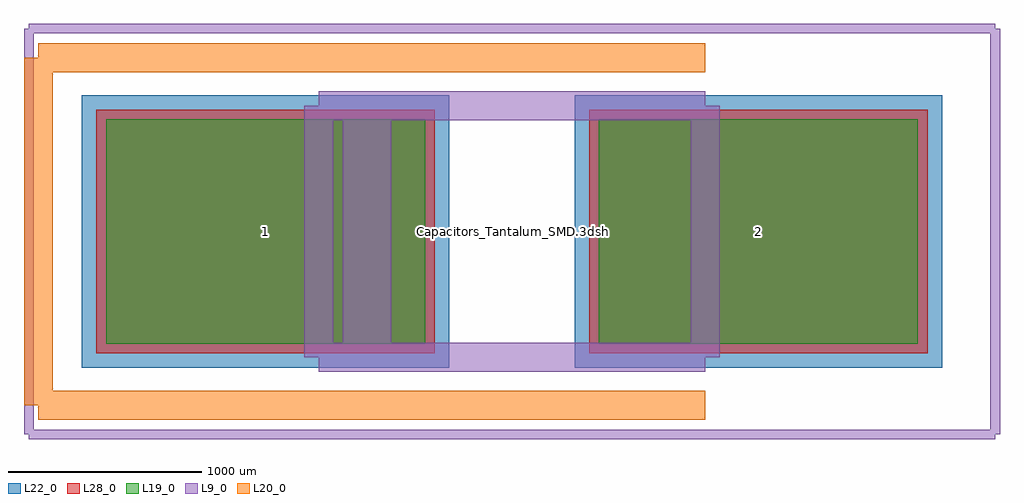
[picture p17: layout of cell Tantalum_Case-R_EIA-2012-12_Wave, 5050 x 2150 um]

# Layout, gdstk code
import gdstk
lib = gdstk.Library(unit=1e-6, precision=1e-09)
def R(c, l, rs):  # rectangles x0, y0, x1, y1
    for r in rs: c.add(gdstk.rectangle(r[:2], r[2:], *l))
L9_0 = (9, 0)
L19_0 = (19, 0)
L20_0 = (20, 0)
L22_0 = (22, 0)
L28_0 = (28, 0)

tantalum_case_r_eia_2012 = lib.new_cell('Tantalum_Case-R_EIA-2012-12_Wave')
R(tantalum_case_r_eia_2012, L19_0, [(-2100,-580,-450,580), (450,-580,2100,580)])
R(tantalum_case_r_eia_2012, L22_0, [(-2225,-705,-325,705), (325,-705,2225,705)])
R(tantalum_case_r_eia_2012, L28_0, [(-2150,-630,-400,630), (400,-630,2150,630)])
tantalum_case_r_eia_2012.add(gdstk.FlexPath([(-2450,900),(-2450,-900)], 149.998, ends="flush", simple_path=True, layer=20, datatype=0))  # L20_0
tantalum_case_r_eia_2012.add(gdstk.FlexPath([(-2450,-900),(1000,-900)], 149.998, ends="flush", simple_path=True, layer=20, datatype=0))  # L20_0
tantalum_case_r_eia_2012.add(gdstk.FlexPath([(-2450,900),(1000,900)], 149.998, ends="flush", simple_path=True, layer=20, datatype=0))  # L20_0
tantalum_case_r_eia_2012.add(gdstk.FlexPath([(-700,650),(-700,-650)], 149.998, ends="flush", simple_path=True, layer=9, datatype=0))  # L9_0
tantalum_case_r_eia_2012.add(gdstk.FlexPath([(-800,650),(-800,-650)], 149.998, ends="flush", simple_path=True, layer=9, datatype=0))  # L9_0
tantalum_case_r_eia_2012.add(gdstk.FlexPath([(1000,650),(-1000,650)], 149.998, ends="flush", simple_path=True, layer=9, datatype=0))  # L9_0
tantalum_case_r_eia_2012.add(gdstk.FlexPath([(1000,-650),(1000,650)], 149.998, ends="flush", simple_path=True, layer=9, datatype=0))  # L9_0
tantalum_case_r_eia_2012.add(gdstk.FlexPath([(-1000,-650),(1000,-650)], 149.998, ends="flush", simple_path=True, layer=9, datatype=0))  # L9_0
tantalum_case_r_eia_2012.add(gdstk.FlexPath([(-1000,650),(-1000,-650)], 149.998, ends="flush", simple_path=True, layer=9, datatype=0))  # L9_0
tantalum_case_r_eia_2012.add(gdstk.FlexPath([(2500,1050),(-2500,1050)], 50, ends="flush", simple_path=True, layer=9, datatype=0))  # L9_0
tantalum_case_r_eia_2012.add(gdstk.FlexPath([(2500,-1050),(2500,1050)], 50, ends="flush", simple_path=True, layer=9, datatype=0))  # L9_0
tantalum_case_r_eia_2012.add(gdstk.FlexPath([(-2500,-1050),(2500,-1050)], 50, ends="flush", simple_path=True, layer=9, datatype=0))  # L9_0
tantalum_case_r_eia_2012.add(gdstk.FlexPath([(-2500,1050),(-2500,-1050)], 50, ends="flush", simple_path=True, layer=9, datatype=0))  # L9_0
tantalum_case_r_eia_2012.add(gdstk.Label('Capacitors_Tantalum_SMD.3dshapes/Tantalum_Case-R_EIA-2012-12.wrl', (0,0), layer=12, texttype=0))
tantalum_case_r_eia_2012.add(gdstk.Label('2', (1275,0), layer=28, texttype=0))
tantalum_case_r_eia_2012.add(gdstk.Label('1', (-1275,0), layer=28, texttype=0))
tantalum_case_r_eia_2012.add(gdstk.Label('type', (0,-2400), layer=9, texttype=0))
tantalum_case_r_eia_2012.add(gdstk.Label('devicename', (0,2400), layer=9, texttype=0))

lib.write_gds('Tantalum_Case-R_EIA-2012-12_Wave.gds')
